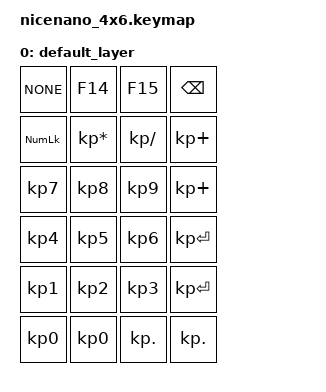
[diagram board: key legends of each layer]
#include <behaviors.dtsi>
#include <dt-bindings/zmk/keys.h>

/ {
    keymap {
        compatible = "zmk,keymap";
        
        default_layer {
            bindings = <
                &kp NONE  &kp F14   &kp F15   &kp BSPC
                &kp KP_NUMLOCK &kp KP_MULTIPLY &kp KP_DIVIDE &kp KP_PLUS
                &kp KP_N7 &kp KP_N8 &kp KP_N9 &kp KP_PLUS
                &kp KP_N4 &kp KP_N5 &kp KP_N6 &kp KP_ENTER
                &kp KP_N1 &kp KP_N2 &kp KP_N3 &kp KP_ENTER
                &kp KP_N0 &kp KP_N0 &kp KP_DOT &kp KP_DOT
            >;
        };
    };
};
